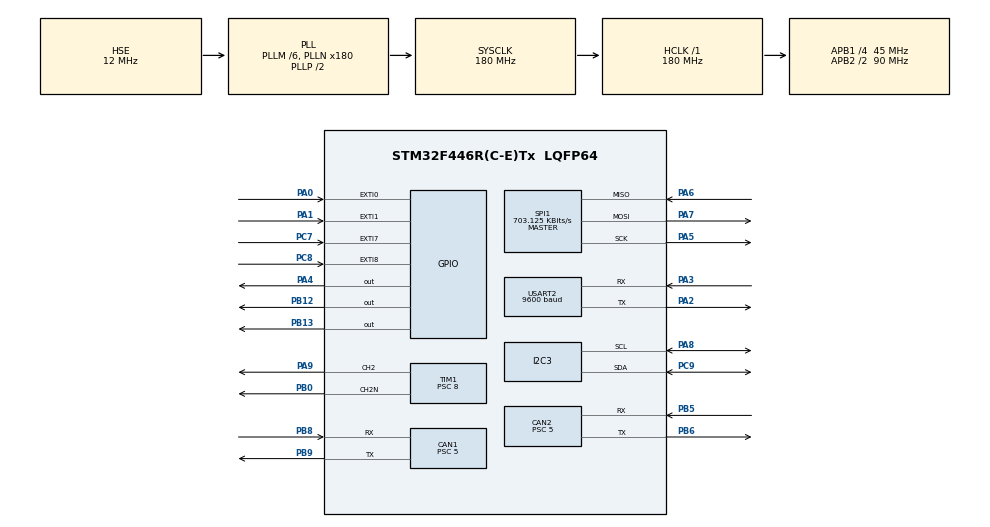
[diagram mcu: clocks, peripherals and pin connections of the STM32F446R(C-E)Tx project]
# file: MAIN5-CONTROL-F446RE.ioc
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CAN1.BS1=CAN_BS1_7TQ
CAN1.CalculateTimeQuantum=111.11111111111111
CAN1.Prescaler=5
CAN2.BS1=CAN_BS1_7TQ
CAN2.CalculateTimeQuantum=111.11111111111111
CAN2.Prescaler=5
Mcu.Family=STM32F4
Mcu.Name=STM32F446R(C-E)Tx
Mcu.Package=LQFP64
NVIC.EXTI0_IRQn=true\:0\:0\:false\:false\:true\:true\:true
NVIC.EXTI1_IRQn=true\:0\:0\:false\:false\:true\:true\:true
NVIC.EXTI9_5_IRQn=true\:0\:0\:false\:false\:true\:true\:true
NVIC.PriorityGroup=NVIC_PRIORITYGROUP_4
NVIC.TIM3_IRQn=true\:0\:0\:false\:false\:true\:true\:true
NVIC.TIM4_IRQn=true\:0\:0\:false\:false\:true\:true\:true
PA0-WKUP.GPIO_ModeDefaultEXTI=GPIO_MODE_IT_RISING_FALLING
PA0-WKUP.GPIO_PuPd=GPIO_PULLUP
PA0-WKUP.Signal=GPXTI0
PA1.GPIO_ModeDefaultEXTI=GPIO_MODE_IT_RISING_FALLING
PA1.GPIO_PuPd=GPIO_PULLUP
PA1.Signal=GPXTI1
PA13.Mode=Serial_Wire
PA13.Signal=SYS_JTMS-SWDIO
PA14.Mode=Serial_Wire
PA14.Signal=SYS_JTCK-SWCLK
PA2.Mode=Asynchronous
PA2.Signal=USART2_TX
PA3.Mode=Asynchronous
PA3.Signal=USART2_RX
PA4.Signal=GPIO_Output
PA5.Mode=Full_Duplex_Master
PA5.Signal=SPI1_SCK
PA6.Mode=Full_Duplex_Master
PA6.Signal=SPI1_MISO
PA7.Mode=Full_Duplex_Master
PA7.Signal=SPI1_MOSI
PA8.Mode=I2C
PA8.Signal=I2C3_SCL
PA9.Signal=S_TIM1_CH2
PB0.Mode=PWM Generation2 CH2 CH2N
PB0.Signal=TIM1_CH2N
PB12.Signal=GPIO_Output
PB13.Signal=GPIO_Output
PB5.Mode=Slave
PB5.Signal=CAN2_RX
PB6.Mode=Slave
PB6.Signal=CAN2_TX
PB8.Mode=Master
PB8.Signal=CAN1_RX
PB9.Mode=Master
PB9.Signal=CAN1_TX
PC7.GPIO_ModeDefaultEXTI=GPIO_MODE_IT_RISING_FALLING
PC7.GPIO_PuPd=GPIO_PULLUP
PC7.Signal=GPXTI7
PC8.GPIO_ModeDefaultEXTI=GPIO_MODE_IT_RISING_FALLING
PC8.GPIO_PuPd=GPIO_PULLUP
PC8.Signal=GPXTI8
PC9.Mode=I2C
PC9.Signal=I2C3_SDA
PH0-OSC_IN.Mode=HSE-External-Oscillator
PH0-OSC_IN.Signal=RCC_OSC_IN
PH1-OSC_OUT.Mode=HSE-External-Oscillator
PH1-OSC_OUT.Signal=RCC_OSC_OUT
ProjectManager.HeapSize=0x200
ProjectManager.StackSize=0x400
ProjectManager.TargetToolchain=STM32CubeIDE
RCC.AHBFreq_Value=180000000
RCC.APB1CLKDivider=RCC_HCLK_DIV4
RCC.APB1Freq_Value=45000000
RCC.APB1TimFreq_Value=90000000
RCC.APB2CLKDivider=RCC_HCLK_DIV2
RCC.APB2Freq_Value=90000000
RCC.APB2TimFreq_Value=180000000
RCC.CortexFreq_Value=180000000
RCC.HCLKFreq_Value=180000000
RCC.HSE_VALUE=12000000
RCC.PLLM=6
RCC.PLLN=180
RCC.PLLSourceVirtual=RCC_PLLSOURCE_HSE
RCC.SYSCLKFreq_VALUE=180000000
RCC.SYSCLKSource=RCC_SYSCLKSOURCE_PLLCLK
RCC.USBFreq_Value=180000000
RCC.VCOOutputFreq_Value=360000000
SH.S_TIM1_CH2.0=TIM1_CH2,PWM Generation2 CH2 CH2N
SPI1.BaudRatePrescaler=SPI_BAUDRATEPRESCALER_128
SPI1.CLKPhase=SPI_PHASE_2EDGE
SPI1.CLKPolarity=SPI_POLARITY_HIGH
SPI1.CalculateBaudRate=703.125 KBits/s
SPI1.Direction=SPI_DIRECTION_2LINES
SPI1.Mode=SPI_MODE_MASTER
SPI1.VirtualType=VM_MASTER
TIM1.Channel-PWM\ Generation2\ CH2\ CH2N=TIM_CHANNEL_2
TIM1.Period=999
TIM1.Prescaler=8
TIM3.Period=9999
TIM3.Prescaler=899
TIM4.Period=9999
TIM4.Prescaler=89
USART2.BaudRate=9600
USART2.VirtualMode=VM_ASYNC
VP_TIM1_VS_ClockSourceINT.Mode=Internal
VP_TIM3_VS_ClockSourceINT.Mode=Internal
VP_TIM4_VS_ClockSourceINT.Mode=Internal
board=custom

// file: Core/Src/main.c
/* USER CODE BEGIN Header */
/**
******************************************************************************
* @file           : main.c
* @brief          : Main program body
******************************************************************************
* @attention
*
* <h2><center>&copy; Copyright (c) 2020 STMicroelectronics.
* All rights reserved.</center></h2>
*
* This software component is licensed by ST under BSD 3-Clause license,
* the "License"; You may not use this file except in compliance with the
* License. You may obtain a copy of the License at:
*                        opensource.org/licenses/BSD-3-Clause
*
******************************************************************************
*/
/* USER CODE END Header */

#include "main.h"
#include "can.h"
#include "i2c.h"
#include "spi.h"
#include "tim.h"
#include "usart.h"
#include "gpio.h"

/* USER CODE BEGIN Includes */
#include <string.h>
#include <math.h>
#include "sd_hal_mpu6050.h"
#include "command.h"
#include "MadgwickAHRS.h"
/* USER CODE END Includes */

/* USER CODE BEGIN PD */
/*CAN*/
CAN_HandleTypeDef hcan1;
CAN_HandleTypeDef hcan2;
CAN_TxHeaderTypeDef TxHeader1;
CAN_RxHeaderTypeDef RxHeader1;
CAN_FilterTypeDef sFilterConfig1;
CAN_TxHeaderTypeDef TxHeader;
CAN_RxHeaderTypeDef RxHeader;
CAN_FilterTypeDef sFilterConfig;
/*I2C*/
I2C_HandleTypeDef hi2c3;
/*GYRO*/
SD_MPU6050 mpu1;
SD_MPU6050_Result result;
Madgwick MadgwickFilter;
/*SPI*/
Si8902 si8902;
SPI_HandleTypeDef hspi1;
/*ENCODER*/
ENCODER Encoder;

//#define CALI_MODE
#define FIR 9999
#define Kf 0.9
#define A_X 0.024
#define A_Y 0.002
#define A_Z 0.13
#define G_X -4.029
#define G_Y 0.626
#define G_Z -0.386
/* USER CODE END PD */

/* USER CODE BEGIN PV */

uint8_t TxData[8]={0,0,0,0,0,0,0,0};
uint8_t RxData[8]={0,0,0,0,0,0,0,0};
uint32_t TxMailbox=0;

int yaw=0;

float g_x[2];
float g_y[2];
float g_z[2];
float a_x[2];
float a_y[2];
float a_z[2];

float a_x_correct=0;
float a_y_correct=0;
float a_z_correct=0;
float g_x_correct=0;
float g_y_correct=0;
float g_z_correct=0;

float a_x_buf;
float a_y_buf;
float a_z_buf;
float g_x_buf;
float g_y_buf;
float g_z_buf;

int md_rpm=0;
int md_dir=0;
int rpm=0;

int count_current=0;
float v_ave=0;
float a_ave=0;
/* USER CODE END PV */

void SystemClock_Config(void);
/* USER CODE BEGIN PFP */

void Gyro_Setup(){

  int correct_count=0;

  while(correct_count<FIR){
    if(SD_MPU6050_ReadAll_Mult(&hi2c3,&mpu1)==SD_MPU6050_Result_Ok){
      a_x_buf=mpu1.Accelerometer_X_Mult;
      a_y_buf=mpu1.Accelerometer_Y_Mult;
      a_z_buf=mpu1.Accelerometer_Z_Mult;
      g_x_buf=mpu1.Gyroscope_X_Mult;
      g_y_buf=mpu1.Gyroscope_Y_Mult;
      g_z_buf=mpu1.Gyroscope_Z_Mult;

    }
    a_x_correct+=a_x_buf;
    a_y_correct+=a_y_buf;
    a_z_correct+=a_z_buf;
    g_x_correct+=g_x_buf;
    g_y_correct+=g_y_buf;
    g_z_correct+=g_z_buf;

    LED_TOGGLE(GPIOB,GPIO_PIN_12);
    LED_TOGGLE(GPIOB,GPIO_PIN_13);
    correct_count++;
  }

  a_x_correct/=FIR;
  a_y_correct/=FIR;
  a_z_correct=(a_z_correct/FIR) -1.0;

  g_x_correct/=FIR;
  g_y_correct/=FIR;
  g_z_correct/=FIR;

}

void HAL_TIM_PeriodElapsedCallback(TIM_HandleTypeDef *htim)
{

  if(htim->Instance == TIM3)
    {
      //LED_TOGGLE(GPIOB,GPIO_PIN_12);
      EncoderGetRPM(&Encoder);
      /*ENCODER*/
      rpm=(Encoder.EncoderRPM+1500)*10;
    }

  if(htim->Instance == TIM4)
    {
      /*GYRO*/
      if(SD_MPU6050_ReadAll_Mult(&hi2c3,&mpu1)==SD_MPU6050_Result_Ok){
	/*
	  if(mpu1.Gyroscope_X_Mult < g_x_correct[1] && mpu1.Gyroscope_X_Mult > g_x_correct[0] )
	  g_x[0]=0;
	  else{

	  g_x[1] = mpu1.Gyroscope_X_Mult;
	  //g_x[1] = HPF * g_x[1] + ( 1.0 - HPF ) * (g_x[0]-g_x_correct[2]);
	  g_x[0] = g_x[1];
	*/

	g_x[1] = mpu1.Gyroscope_X_Mult-g_x_correct;
	g_x[1] = Kf * g_x[1] + ( 1.0 - Kf ) * g_x[0];
	g_x[0] = g_x[1];

	g_y[1] = mpu1.Gyroscope_Y_Mult-g_y_correct;
	g_y[1] = Kf * g_y[1] + ( 1.0 - Kf ) * g_y[0];
	g_y[0] = g_y[1];

	g_z[1] = mpu1.Gyroscope_Z_Mult-g_z_correct;
	g_z[1] = Kf * g_z[1] + ( 1.0 - Kf ) * g_z[0];
	g_z[0] = g_z[1];

	a_x[1]=mpu1.Accelerometer_X_Mult-a_x_correct;
	a_x[1] = Kf * a_x[1] + ( 1.0 - Kf ) * a_x[0];
	a_x[0]=a_x[1];

	a_y[1]=mpu1.Accelerometer_Y_Mult-a_y_correct;
	a_y[1] = Kf * a_y[1] + ( 1.0 - Kf ) * a_y[0];
	a_y[0]=a_y[1];

	a_z[1]=mpu1.Accelerometer_Z_Mult-a_z_correct;
	a_z[1] = Kf * a_z[1] + ( 1.0 - Kf ) * a_z[0];
	a_z[0]=a_z[1];

	MadgwickAHRSupdateIMU(&MadgwickFilter,g_x[1],g_y[1],g_z[1],a_x[1],a_y[1],a_z[1]);
	getAngle(&MadgwickFilter);

      }else{
	LED_TOGGLE(GPIOB,GPIO_PIN_12);
      }

      //rpm=Encoder.EncoderRPM*10;
      /*CAN*/
      HAL_CAN_GetRxMessage(&hcan2,CAN_RX_FIFO0,&RxHeader,RxData);
      yaw=(int)((MadgwickFilter.yaw+180)*100);
      int gyro_z=(int)(g_z[1]+100)*100;
      TxData[0]=rpm&255;
      TxData[1]=rpm>>8;
      TxData[2]=yaw &255;
      TxData[3]=yaw >>8;
      TxData[4]=gyro_z&255;
      TxData[5]=gyro_z>>8;
      TxData[6]=(TxData[0]+TxData[1]+TxData[2]+TxData[3]+TxData[4]+TxData[5])&0xFF;
      HAL_CAN_AddTxMessage(&hcan2,&TxHeader,TxData,&TxMailbox);
      /*CAN*/
      //HAL_UART_Transmit(&huart2,TxData,4, 100);
      MD_Start_SMB(&htim1, TIM_CHANNEL_2,md_rpm);
    }
}

void HAL_GPIO_EXTI_Callback(uint16_t GPIO_Pin)
{
  EncoderGetCount(&Encoder,GPIO_Pin,GPIOA,GPIO_PIN_0,GPIOA,GPIO_PIN_1);
}
/* USER CODE END PFP */

int main(void)
{

  /* MCU Configuration--------------------------------------------------------*/

  /* Reset of all peripherals, Initializes the Flash interface and the Systick. */
  HAL_Init();

  /* Configure the system clock */
  SystemClock_Config();

  /* Initialize all configured peripherals */
  MX_GPIO_Init();
  MX_CAN1_Init();
  MX_CAN2_Init();
  MX_I2C3_Init();
  MX_SPI1_Init();
  MX_TIM1_Init();
  MX_TIM4_Init();
  MX_TIM3_Init();
  MX_USART2_UART_Init();
  /* USER CODE BEGIN 2 */

  /*GYRO*/
  GYRO_Start(&hi2c3,&mpu1,result);

  /*CAN*/
  //CAN_Start(&hcan1, &TxHeader1,&sFilterConfig1,0x10);
  CAN_Start(&hcan2, &TxHeader,&sFilterConfig,0x11);

  while(RxData[0]!='c'){
    HAL_CAN_GetRxMessage(&hcan2,CAN_RX_FIFO0,&RxHeader,RxData);
    //LED_RED(GPIOB,GPIO_PIN_12);
    LED_RED(GPIOB,GPIO_PIN_13);
  }

  /*GYRO*/
#ifdef CALI_MODE
  HAL_Delay(2000);
  Gyro_Setup();
#else
  a_x_correct=A_X;
  a_y_correct=A_Y;
  a_z_correct=A_Z;

  g_x_correct=G_X;
  g_y_correct=G_Y;
  g_z_correct=G_Z;
#endif
  /*ENCODER*/
  EncoderStart(&Encoder, 48, 20.4, 0,0.1);
  /*TIMER interrupt*/
  HAL_TIM_Base_Start_IT(&htim3);
  HAL_TIM_Base_Start_IT(&htim4);

  /* USER CODE END 2 */

  /* Infinite loop */
  /* USER CODE BEGIN WHILE */
  while (1)
    {

      /*
	GetCurrent(&si8902,&hspi1, GPIOA, GPIO_PIN_4);
	v_ave+=si8902.CurrentValue;
	count_current++;
	if(count_current==100){
	a_ave=v_ave/count_current;
	count_current=0;
	v_ave=0;
	}
      */
      if(RxHeader.StdId==0x10){
	md_dir=RxData[0];

	if(md_dir==0)
	  md_rpm=(RxData[1]&255)|(RxData[2]<<8)&65280;
	else if(md_dir==1)
	  md_rpm=-((RxData[1]&255)|(RxData[2]<<8)&65280);

	if(RxData[0]=='x'){
	  //yaw_buf=0;
	  MadgwickFilter.q_z=0;
	  LED_RED(GPIOB,GPIO_PIN_13);
	  HAL_Delay(100);
	}

	LED_TOGGLE(GPIOB,GPIO_PIN_13);
      }

      /* USER CODE END WHILE */

    }
}

void SystemClock_Config(void)
{
  RCC_OscInitTypeDef RCC_OscInitStruct = {0};
  RCC_ClkInitTypeDef RCC_ClkInitStruct = {0};

  /** Configure the main internal regulator output voltage
   */
  __HAL_RCC_PWR_CLK_ENABLE();
  __HAL_PWR_VOLTAGESCALING_CONFIG(PWR_REGULATOR_VOLTAGE_SCALE1);
  /** Initializes the CPU, AHB and APB busses clocks
   */
  RCC_OscInitStruct.OscillatorType = RCC_OSCILLATORTYPE_HSE;
  RCC_OscInitStruct.HSEState = RCC_HSE_ON;
  RCC_OscInitStruct.PLL.PLLState = RCC_PLL_ON;
  RCC_OscInitStruct.PLL.PLLSource = RCC_PLLSOURCE_HSE;
  RCC_OscInitStruct.PLL.PLLM = 6;
  RCC_OscInitStruct.PLL.PLLN = 180;
  RCC_OscInitStruct.PLL.PLLP = RCC_PLLP_DIV2;
  RCC_OscInitStruct.PLL.PLLQ = 2;
  RCC_OscInitStruct.PLL.PLLR = 2;
  if (HAL_RCC_OscConfig(&RCC_OscInitStruct) != HAL_OK)
    {
      Error_Handler();
    }
  /** Activate the Over-Drive mode
   */
  if (HAL_PWREx_EnableOverDrive() != HAL_OK)
    {
      Error_Handler();
    }
  /** Initializes the CPU, AHB and APB busses clocks
   */
  RCC_ClkInitStruct.ClockType = RCC_CLOCKTYPE_HCLK|RCC_CLOCKTYPE_SYSCLK
    |RCC_CLOCKTYPE_PCLK1|RCC_CLOCKTYPE_PCLK2;
  RCC_ClkInitStruct.SYSCLKSource = RCC_SYSCLKSOURCE_PLLCLK;
  RCC_ClkInitStruct.AHBCLKDivider = RCC_SYSCLK_DIV1;
  RCC_ClkInitStruct.APB1CLKDivider = RCC_HCLK_DIV4;
  RCC_ClkInitStruct.APB2CLKDivider = RCC_HCLK_DIV2;

  if (HAL_RCC_ClockConfig(&RCC_ClkInitStruct, FLASH_LATENCY_5) != HAL_OK)
    {
      Error_Handler();
    }
}

void Error_Handler(void)
{
}

/************************ (C) COPYRIGHT STMicroelectronics *****END OF FILE****/
